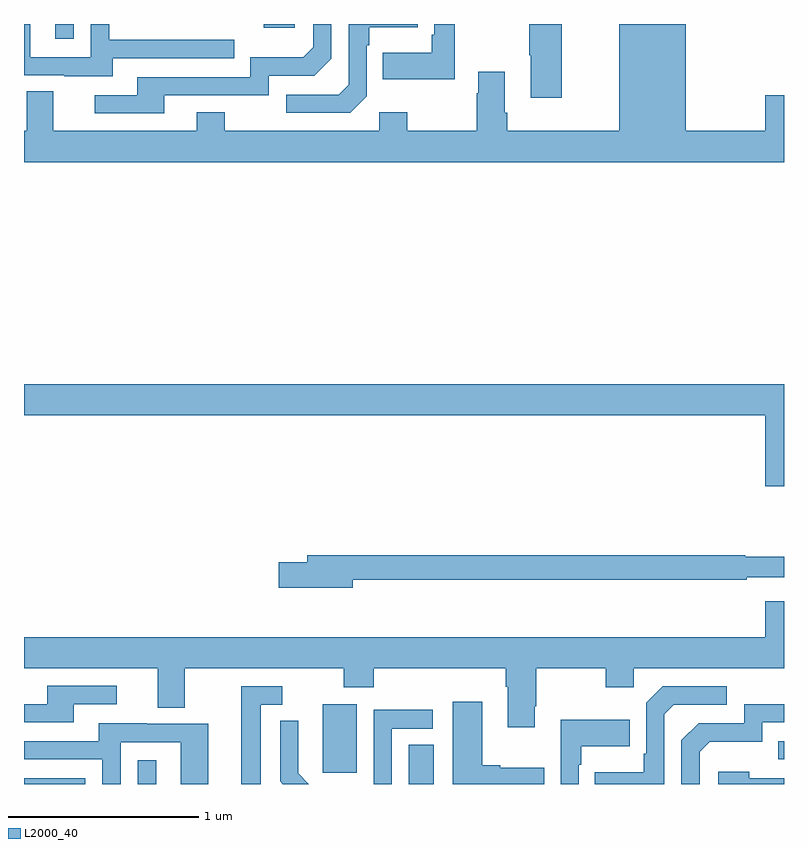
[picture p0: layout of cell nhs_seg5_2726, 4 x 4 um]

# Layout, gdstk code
import gdstk
lib = gdstk.Library(unit=1e-6, precision=1e-09)
def R(c, l, rs):  # rectangles x0, y0, x1, y1
    for r in rs: c.add(gdstk.rectangle(r[:2], r[2:], *l))
def P(c, l, *ps):  # polygons
    for p in ps: c.add(gdstk.Polygon(p, *l))
L2000_40 = (2000, 40)

nhs_seg5_2726 = lib.new_cell('nhs_seg5_2726')
R(nhs_seg5_2726, L2000_40, [(269,874.799,269.322,874.83), (269.598,874.799,269.695,874.924), (271.025,874.799,271.156,875.006), (270.572,874.857,270.751,875.218), (272.971,874.929,273,875.025), (269.165,878.721,269.262,878.799), (270.263,878.78,270.424,878.799)])
P(nhs_seg5_2726, L2000_40, [(273,878.425),(272.9,878.425),(272.9,878.236),(272.482,878.236),(272.482,878.799),(272.132,878.799),(272.132,878.236),(271.544,878.236),(271.544,878.332),(271.531,878.332),(271.531,878.548),(271.391,878.548),(271.391,878.435),(271.384,878.435),(271.384,878.236),(271.017,878.236),(271.017,878.335),(270.87,878.335),(270.87,878.236),(270.057,878.236),(270.057,878.335),(269.909,878.335),(269.909,878.236),(269.155,878.236),(269.155,878.444),(269.015,878.444),(269.015,878.236),(269,878.236),(269,878.072),(273,878.072)],
  [(271.267,878.799),(271.158,878.799),(271.158,878.743),(271.146,878.743),(271.146,878.647),(270.889,878.647),(270.889,878.507),(271.267,878.507)],
  [(269.737,878.424),(270.288,878.424),(270.288,878.526),(270.528,878.526),(270.618,878.616),(270.618,878.799),(270.522,878.799),(270.522,878.676),(270.469,878.623),(270.192,878.623),(270.192,878.52),(269.597,878.52),(269.597,878.424),(269.373,878.424),(269.373,878.328),(269.737,878.328)],
  [(270.804,878.418),(270.804,878.687),(270.817,878.687),(270.817,878.783),(271.073,878.783),(271.073,878.799),(270.708,878.799),(270.708,878.478),(270.657,878.427),(270.381,878.427),(270.381,878.331),(270.717,878.331)],
  [(271.83,878.799),(271.66,878.799),(271.66,878.635),(271.667,878.635),(271.667,878.412),(271.83,878.412)],
  [(269.467,878.619),(270.107,878.619),(270.107,878.715),(269.448,878.715),(269.448,878.799),(269.352,878.799),(269.352,878.625),(269.034,878.625),(269.034,878.799),(269,878.799),(269,878.529),(269.213,878.529),(269.213,878.525),(269.467,878.525)],
  [(273,876.904),(269,876.904),(269,876.74),(272.9,876.74),(272.9,876.366),(273,876.366)],
  [(270.73,875.874),(272.804,875.874),(272.804,875.886),(273,875.886),(273,875.995),(272.795,875.995),(272.795,876.002),(270.491,876.002),(270.491,875.966),(270.342,875.966),(270.342,875.831),(270.73,875.831)],
  [(271.687,875.209),(271.695,875.209),(271.695,875.408),(272.062,875.408),(272.062,875.309),(272.208,875.309),(272.208,875.408),(273,875.408),(273,875.761),(272.9,875.761),(272.9,875.572),(269,875.572),(269,875.408),(269.705,875.408),(269.705,875.2),(269.845,875.2),(269.845,875.408),(270.682,875.408),(270.682,875.309),(270.842,875.309),(270.842,875.408),(271.535,875.408),(271.535,875.312),(271.547,875.312),(271.547,875.097),(271.687,875.097)],
  [(269.263,875.22),(269.488,875.22),(269.488,875.316),(269.123,875.316),(269.123,875.22),(269,875.22),(269,875.124),(269.263,875.124)],
  [(272.37,875.166),(272.421,875.217),(272.698,875.217),(272.698,875.313),(272.361,875.313),(272.274,875.226),(272.274,874.957),(272.262,874.957),(272.262,874.861),(272.005,874.861),(272.005,874.799),(272.37,874.799)],
  [(270.247,875.217),(270.358,875.217),(270.358,875.313),(270.143,875.313),(270.143,874.799),(270.247,874.799)],
  [(271.738,874.885),(271.507,874.885),(271.507,874.898),(271.411,874.898),(271.411,875.233),(271.256,875.233),(271.256,874.799),(271.738,874.799)],
  [(272.556,874.968),(272.609,875.021),(272.886,875.021),(272.886,875.124),(273,875.124),(273,875.22),(272.79,875.22),(272.79,875.118),(272.55,875.118),(272.46,875.028),(272.46,874.799),(272.556,874.799)],
  [(270.936,875.091),(271.15,875.091),(271.15,875.19),(270.84,875.19),(270.84,874.799),(270.936,874.799)],
  [(271.92,874.901),(271.933,874.901),(271.933,874.997),(272.189,874.997),(272.189,875.137),(271.824,875.137),(271.824,874.799),(271.92,874.799)],
  [(270.443,874.856),(270.443,874.978),(270.444,874.978),(270.444,875.132),(270.348,875.132),(270.348,874.814),(270.363,874.799),(270.499,874.799)],
  [(269.508,875.019),(269.826,875.019),(269.826,874.799),(269.971,874.799),(269.971,875.115),(269.647,875.115),(269.647,875.119),(269.393,875.119),(269.393,875.025),(269,875.025),(269,874.929),(269.412,874.929),(269.412,874.799),(269.508,874.799)],
  [(273,874.83),(272.816,874.83),(272.816,874.864),(272.655,874.864),(272.655,874.799),(273,874.799)])

lib.write_gds('nhs_seg5_2726.gds')
